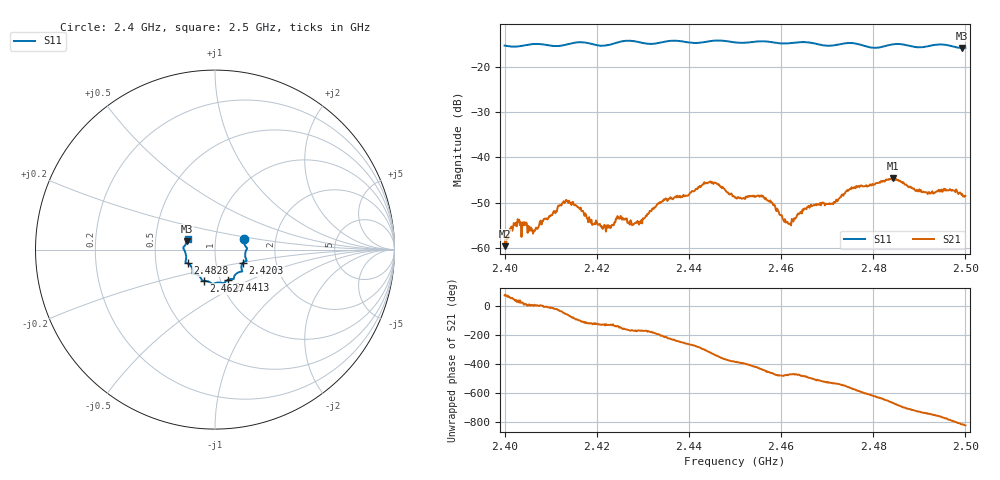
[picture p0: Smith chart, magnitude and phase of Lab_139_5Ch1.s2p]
# Hz S RI R 50
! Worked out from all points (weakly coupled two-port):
!   601 points, 2.4 GHz to 2.5 GHz, reference 50 ohm
!   highest |S21| = -44.58 dB at 2.4843 GHz (marker M1); lowest = -59.6 dB at 2.4 GHz (marker M2)
!   lowest |S11| = -15.8 dB at 2.4993 GHz (marker M3), VSWR 1.38, Z = 36.5 + j3.61 ohm
!   |S11| at or under -10 dB: start of sweep to end of sweep
!   S12 and S22 are empty: the file has one direction only
!   S11 on the Smith chart (normalised r, x): 2.4 GHz: 1.37, +0.16; 2.4203 GHz: 1.35, -0.20; 2.4413 GHz: 1.09, -0.38; 2.4627 GHz: 0.83, -0.30; 2.4828 GHz: 0.73, -0.12; 2.5 GHz: 0.73, +0.09
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2.4e9  0.1614 0.0582  0.000326 0.000997  0 0  0 0
2.4025e9  0.1647 0.0308  0.00149 0.0012  0 0  0 0
2.406667e9  0.1787 0.00754  0.0016 9.94e-05  0 0  0 0
2.413167e9  0.1697 -0.0433  0.00187 -0.00261  0 0  0 0
2.416667e9  0.1764 -0.0623  -0.000866 -0.00242  0 0  0 0
2.420333e9  0.1561 -0.0732  -0.0011 -0.00143  0 0  0 0
2.424833e9  0.1495 -0.1139  -0.00184 -0.00106  0 0  0 0
2.429333e9  0.1397 -0.1239  -0.00194 -0.00027  0 0  0 0
2.433333e9  0.1078 -0.1478  -0.00301 0.000807  0 0  0 0
2.441333e9  0.0752 -0.1674  0.000449 0.00434  0 0  0 0
2.445167e9  0.0514 -0.1871  0.00454 0.00258  0 0  0 0
2.45e9  0.0304 -0.1839  0.00326 -0.00153  0 0  0 0
2.455667e9  -0.0112 -0.1914  0.000977 -0.00369  0 0  0 0
2.461167e9  -0.0489 -0.1746  -0.000883 -0.00175  0 0  0 0
2.462667e9  -0.0615 -0.1738  -0.000696 -0.00183  0 0  0 0
2.466667e9  -0.0742 -0.1682  -0.00224 -0.00184  0 0  0 0
2.482833e9  -0.1529 -0.0768  0.00199 0.00537  0 0  0 0
2.483333e9  -0.1565 -0.0751  0.00253 0.00518  0 0  0 0
2.484333e9  -0.1618 -0.0731  0.00375 0.00456  0 0  0 0
2.489333e9  -0.1606 -0.0383  0.00427 -0.000271  0 0  0 0
2.499333e9  -0.154 0.0482  -0.000322 -0.00393  0 0  0 0
2.5e9  -0.1521 0.0574  -0.000856 -0.00366  0 0  0 0
